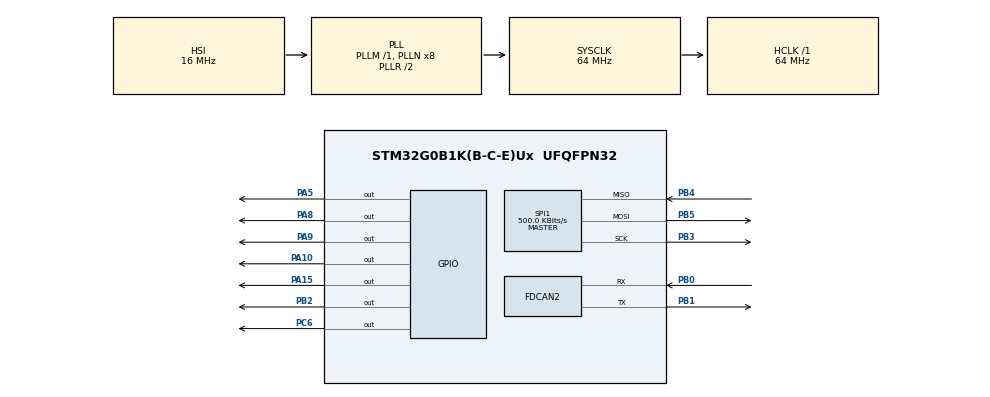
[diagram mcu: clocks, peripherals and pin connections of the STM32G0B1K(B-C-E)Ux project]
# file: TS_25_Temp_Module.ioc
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FDCAN2.AutoRetransmission=ENABLE
FDCAN2.CalculateBaudRateNominal=500000
FDCAN2.CalculateTimeBitNominal=2000
FDCAN2.CalculateTimeQuantumNominal=125.0
FDCAN2.NominalPrescaler=4
FDCAN2.NominalTimeSeg1=11
FDCAN2.NominalTimeSeg2=4
Mcu.Family=STM32G0
Mcu.Name=STM32G0B1K(B-C-E)Ux
Mcu.Package=UFQFPN32
NVIC.TIM2_IRQn=true\:0\:0\:false\:false\:true\:true\:true\:true
PA10.Signal=GPIO_Output
PA13.Mode=Serial_Wire
PA13.Signal=SYS_SWDIO
PA14-BOOT0.Mode=Serial_Wire
PA14-BOOT0.Signal=SYS_SWCLK
PA15.Signal=GPIO_Output
PA5.Signal=GPIO_Output
PA8.Signal=GPIO_Output
PA9.Signal=GPIO_Output
PB0.Mode=FDCAN_Activate
PB0.Signal=FDCAN2_RX
PB1.Mode=FDCAN_Activate
PB1.Signal=FDCAN2_TX
PB2.Signal=GPIO_Output
PB3.Mode=Full_Duplex_Master
PB3.Signal=SPI1_SCK
PB4.GPIO_PuPd=GPIO_PULLDOWN
PB4.Mode=Full_Duplex_Master
PB4.Signal=SPI1_MISO
PB5.Mode=Full_Duplex_Master
PB5.Signal=SPI1_MOSI
PC6.Signal=GPIO_Output
ProjectManager.HeapSize=0x200
ProjectManager.StackSize=0x400
ProjectManager.TargetToolchain=STM32CubeIDE
RCC.ADCFreq_Value=64000000
RCC.AHBFreq_Value=64000000
RCC.APB1CLKDivider=RCC_HCLK_DIV2
RCC.CortexFreq_Value=64000000
RCC.EXTERNAL_CLOCK_VALUE=48000
RCC.HCLKFreq_Value=64000000
RCC.HSE_VALUE=8000000
RCC.HSI48_VALUE=48000000
RCC.HSI_VALUE=16000000
RCC.LSE_VALUE=32768
RCC.SYSCLKFreq_VALUE=64000000
RCC.SYSCLKSource=RCC_SYSCLKSOURCE_PLLCLK
RCC.USBFreq_Value=48000000
RCC.VCOOutputFreq_Value=128000000
SPI1.BaudRatePrescaler=SPI_BAUDRATEPRESCALER_64
SPI1.CalculateBaudRate=500.0 KBits/s
SPI1.DataSize=SPI_DATASIZE_8BIT
SPI1.Direction=SPI_DIRECTION_2LINES
SPI1.Mode=SPI_MODE_MASTER
SPI1.NSSPMode=SPI_NSS_PULSE_DISABLE
SPI1.VirtualType=VM_MASTER
TIM2.Period=63999
VP_SYS_VS_DBSignals.Mode=DisableDeadBatterySignals
VP_TIM2_VS_ClockSourceINT.Mode=Internal
board=custom

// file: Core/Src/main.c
/* USER CODE BEGIN Header */
/**
  ******************************************************************************
  * @file           : main.c
  * @brief          : Main program body
  ******************************************************************************
  * @attention
  *
  * Copyright (c) 2025 STMicroelectronics.
  * All rights reserved.
  *
  * This software is licensed under terms that can be found in the LICENSE file
  * in the root directory of this software component.
  * If no LICENSE file comes with this software, it is provided AS-IS.
  *
  ******************************************************************************
  */
/* USER CODE END Header */
#include "main.h"

/* USER CODE BEGIN Includes */
#include "TempModule.h"
/* USER CODE END Includes */

FDCAN_HandleTypeDef hfdcan2;

SPI_HandleTypeDef hspi1;

TIM_HandleTypeDef htim2;

void SystemClock_Config(void);
static void MX_GPIO_Init(void);
static void MX_FDCAN2_Init(void);
static void MX_SPI1_Init(void);
static void MX_TIM2_Init(void);

int main(void)
{

  /* MCU Configuration--------------------------------------------------------*/

  /* Reset of all peripherals, Initializes the Flash interface and the Systick. */
  HAL_Init();

  /* Configure the system clock */
  SystemClock_Config();

  /* USER CODE BEGIN SysInit */
  HAL_FDCAN_MspInit(&hfdcan2);
  HAL_SPI_MspInit(&hspi1);
  /* USER CODE END SysInit */

  /* Initialize all configured peripherals */
  MX_GPIO_Init();
  MX_FDCAN2_Init();
  MX_SPI1_Init();
  MX_TIM2_Init();
  /* USER CODE BEGIN 2 */
  canFramesDefine();
  ioAssign();
  initialiseADC();
  HAL_GPIO_WritePin(GPIOA, GPIO_PIN_5, GPIO_PIN_RESET); //LED on (default)

  TickerAttach(&Ticker, &TransmitHeartBeat, CAN_RATE_1000MS);
  TickerAttach(&Ticker, &TransmitAnalogue, CAN_RATE_1000MS);
  TickerAttach(&Ticker, &TransmitAnalogueRaw, CAN_RATE_1000MS);

  HAL_FDCAN_Start(&hfdcan2);

  HAL_TIM_Base_Start_IT(&htim2);
  /* USER CODE END 2 */

  /* Infinite loop */
  while (1)
  {

    /* USER CODE BEGIN 3 */
	  UpdateAnalogue();
	  TransmitCAN();
  }
  /* USER CODE END 3 */
}

void SystemClock_Config(void)
{
  RCC_OscInitTypeDef RCC_OscInitStruct = {0};
  RCC_ClkInitTypeDef RCC_ClkInitStruct = {0};

  /** Configure the main internal regulator output voltage
  */
  HAL_PWREx_ControlVoltageScaling(PWR_REGULATOR_VOLTAGE_SCALE1);

  /** Initializes the RCC Oscillators according to the specified parameters
  * in the RCC_OscInitTypeDef structure.
  */
  RCC_OscInitStruct.OscillatorType = RCC_OSCILLATORTYPE_HSI;
  RCC_OscInitStruct.HSIState = RCC_HSI_ON;
  RCC_OscInitStruct.HSIDiv = RCC_HSI_DIV1;
  RCC_OscInitStruct.HSICalibrationValue = RCC_HSICALIBRATION_DEFAULT;
  RCC_OscInitStruct.PLL.PLLState = RCC_PLL_ON;
  RCC_OscInitStruct.PLL.PLLSource = RCC_PLLSOURCE_HSI;
  RCC_OscInitStruct.PLL.PLLM = RCC_PLLM_DIV1;
  RCC_OscInitStruct.PLL.PLLN = 8;
  RCC_OscInitStruct.PLL.PLLP = RCC_PLLP_DIV2;
  RCC_OscInitStruct.PLL.PLLQ = RCC_PLLQ_DIV2;
  RCC_OscInitStruct.PLL.PLLR = RCC_PLLR_DIV2;
  if (HAL_RCC_OscConfig(&RCC_OscInitStruct) != HAL_OK)
  {
    Error_Handler();
  }

  /** Initializes the CPU, AHB and APB buses clocks
  */
  RCC_ClkInitStruct.ClockType = RCC_CLOCKTYPE_HCLK|RCC_CLOCKTYPE_SYSCLK
                              |RCC_CLOCKTYPE_PCLK1;
  RCC_ClkInitStruct.SYSCLKSource = RCC_SYSCLKSOURCE_PLLCLK;
  RCC_ClkInitStruct.AHBCLKDivider = RCC_SYSCLK_DIV1;
  RCC_ClkInitStruct.APB1CLKDivider = RCC_HCLK_DIV2;

  if (HAL_RCC_ClockConfig(&RCC_ClkInitStruct, FLASH_LATENCY_2) != HAL_OK)
  {
    Error_Handler();
  }
}

static void MX_FDCAN2_Init(void)
{

  hfdcan2.Instance = FDCAN2;
  hfdcan2.Init.ClockDivider = FDCAN_CLOCK_DIV1;
  hfdcan2.Init.FrameFormat = FDCAN_FRAME_CLASSIC;
  hfdcan2.Init.Mode = FDCAN_MODE_NORMAL;
  hfdcan2.Init.AutoRetransmission = ENABLE;
  hfdcan2.Init.TransmitPause = DISABLE;
  hfdcan2.Init.ProtocolException = DISABLE;
  hfdcan2.Init.NominalPrescaler = 4;
  hfdcan2.Init.NominalSyncJumpWidth = 1;
  hfdcan2.Init.NominalTimeSeg1 = 11;
  hfdcan2.Init.NominalTimeSeg2 = 4;
  hfdcan2.Init.DataPrescaler = 1;
  hfdcan2.Init.DataSyncJumpWidth = 1;
  hfdcan2.Init.DataTimeSeg1 = 1;
  hfdcan2.Init.DataTimeSeg2 = 1;
  hfdcan2.Init.StdFiltersNbr = 0;
  hfdcan2.Init.ExtFiltersNbr = 0;
  hfdcan2.Init.TxFifoQueueMode = FDCAN_TX_FIFO_OPERATION;
  if (HAL_FDCAN_Init(&hfdcan2) != HAL_OK)
  {
    Error_Handler();
  }

}

static void MX_SPI1_Init(void)
{

  /* SPI1 parameter configuration*/
  hspi1.Instance = SPI1;
  hspi1.Init.Mode = SPI_MODE_MASTER;
  hspi1.Init.Direction = SPI_DIRECTION_2LINES;
  hspi1.Init.DataSize = SPI_DATASIZE_8BIT;
  hspi1.Init.CLKPolarity = SPI_POLARITY_LOW;
  hspi1.Init.CLKPhase = SPI_PHASE_1EDGE;
  hspi1.Init.NSS = SPI_NSS_SOFT;
  hspi1.Init.BaudRatePrescaler = SPI_BAUDRATEPRESCALER_64;
  hspi1.Init.FirstBit = SPI_FIRSTBIT_MSB;
  hspi1.Init.TIMode = SPI_TIMODE_DISABLE;
  hspi1.Init.CRCCalculation = SPI_CRCCALCULATION_DISABLE;
  hspi1.Init.CRCPolynomial = 7;
  hspi1.Init.CRCLength = SPI_CRC_LENGTH_DATASIZE;
  hspi1.Init.NSSPMode = SPI_NSS_PULSE_DISABLE;
  if (HAL_SPI_Init(&hspi1) != HAL_OK)
  {
    Error_Handler();
  }

}

static void MX_TIM2_Init(void)
{

  TIM_ClockConfigTypeDef sClockSourceConfig = {0};
  TIM_MasterConfigTypeDef sMasterConfig = {0};

  htim2.Instance = TIM2;
  htim2.Init.Prescaler = 0;
  htim2.Init.CounterMode = TIM_COUNTERMODE_UP;
  htim2.Init.Period = 63999;
  htim2.Init.ClockDivision = TIM_CLOCKDIVISION_DIV1;
  htim2.Init.AutoReloadPreload = TIM_AUTORELOAD_PRELOAD_DISABLE;
  if (HAL_TIM_Base_Init(&htim2) != HAL_OK)
  {
    Error_Handler();
  }
  sClockSourceConfig.ClockSource = TIM_CLOCKSOURCE_INTERNAL;
  if (HAL_TIM_ConfigClockSource(&htim2, &sClockSourceConfig) != HAL_OK)
  {
    Error_Handler();
  }
  sMasterConfig.MasterOutputTrigger = TIM_TRGO_RESET;
  sMasterConfig.MasterSlaveMode = TIM_MASTERSLAVEMODE_DISABLE;
  if (HAL_TIMEx_MasterConfigSynchronization(&htim2, &sMasterConfig) != HAL_OK)
  {
    Error_Handler();
  }

}

static void MX_GPIO_Init(void)
{
  GPIO_InitTypeDef GPIO_InitStruct = {0};

  /* GPIO Ports Clock Enable */
  __HAL_RCC_GPIOA_CLK_ENABLE();
  __HAL_RCC_GPIOB_CLK_ENABLE();
  __HAL_RCC_GPIOC_CLK_ENABLE();

  /*Configure GPIO pin Output Level */
  HAL_GPIO_WritePin(GPIOA, GPIO_PIN_5|GPIO_PIN_8|GPIO_PIN_9|GPIO_PIN_10
                          |GPIO_PIN_15, GPIO_PIN_RESET);

  /*Configure GPIO pin Output Level */
  HAL_GPIO_WritePin(GPIOB, GPIO_PIN_2, GPIO_PIN_RESET);

  /*Configure GPIO pin Output Level */
  HAL_GPIO_WritePin(GPIOC, GPIO_PIN_6, GPIO_PIN_RESET);

  /*Configure GPIO pins : PA5 PA8 PA9 PA10
                           PA15 */
  GPIO_InitStruct.Pin = GPIO_PIN_5|GPIO_PIN_8|GPIO_PIN_9|GPIO_PIN_10
                          |GPIO_PIN_15;
  GPIO_InitStruct.Mode = GPIO_MODE_OUTPUT_PP;
  GPIO_InitStruct.Pull = GPIO_NOPULL;
  GPIO_InitStruct.Speed = GPIO_SPEED_FREQ_LOW;
  HAL_GPIO_Init(GPIOA, &GPIO_InitStruct);

  /*Configure GPIO pin : PB2 */
  GPIO_InitStruct.Pin = GPIO_PIN_2;
  GPIO_InitStruct.Mode = GPIO_MODE_OUTPUT_PP;
  GPIO_InitStruct.Pull = GPIO_NOPULL;
  GPIO_InitStruct.Speed = GPIO_SPEED_FREQ_LOW;
  HAL_GPIO_Init(GPIOB, &GPIO_InitStruct);

  /*Configure GPIO pin : PC6 */
  GPIO_InitStruct.Pin = GPIO_PIN_6;
  GPIO_InitStruct.Mode = GPIO_MODE_OUTPUT_PP;
  GPIO_InitStruct.Pull = GPIO_NOPULL;
  GPIO_InitStruct.Speed = GPIO_SPEED_FREQ_LOW;
  HAL_GPIO_Init(GPIOC, &GPIO_InitStruct);

}

/* USER CODE BEGIN 4 */
void HAL_TIM_PeriodElapsedCallback(TIM_HandleTypeDef* htim)
{
	if(htim->Instance == TIM2)
	{
		TickerHandler(&Ticker);
	}
}
/* USER CODE END 4 */

void Error_Handler(void)
{
  /* USER CODE BEGIN Error_Handler_Debug */
  /* User can add his own implementation to report the HAL error return state */
  __disable_irq();
  while (1)
  {
	  return;
  }
  /* USER CODE END Error_Handler_Debug */
}
